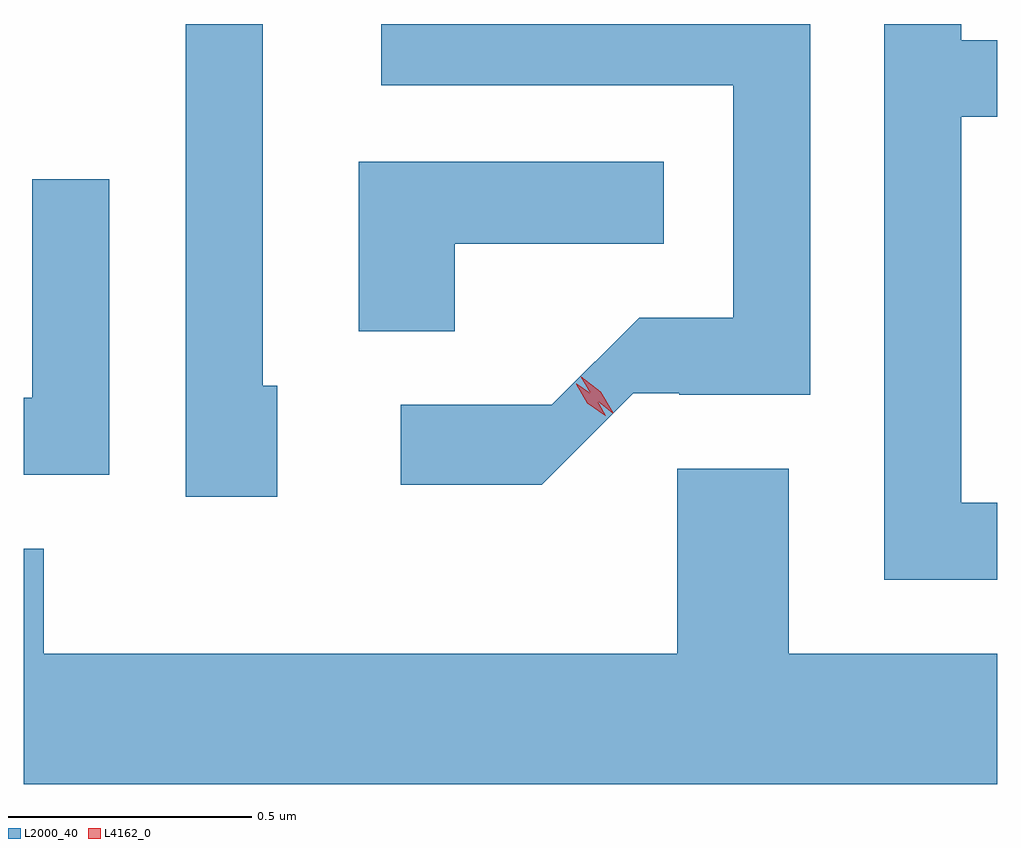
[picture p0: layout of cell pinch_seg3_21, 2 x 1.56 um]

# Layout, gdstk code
import gdstk
lib = gdstk.Library(unit=1e-6, precision=1e-09)
def P(c, l, *ps):  # polygons
    for p in ps: c.add(gdstk.Polygon(p, *l))
L2000_40 = (2000, 40)
L4162_0 = (4162, 0)

pinch_seg3_21 = lib.new_cell('pinch_seg3_21')
P(pinch_seg3_21, L2000_40, [(829.69,1188.979),(829.785,1188.979),(829.785,1188.976),(830.054,1188.976),(830.054,1189.737),(829.173,1189.737),(829.173,1189.611),(829.896,1189.611),(829.896,1189.134),(829.702,1189.134),(829.523,1188.955),(829.213,1188.955),(829.213,1188.791),(829.502,1188.791)],
  [(828.959,1188.994),(828.929,1188.994),(828.929,1189.737),(828.771,1189.737),(828.771,1188.766),(828.959,1188.766)],
  [(830.438,1188.754),(830.364,1188.754),(830.364,1189.546),(830.438,1189.546),(830.438,1189.704),(830.364,1189.704),(830.364,1189.737),(830.206,1189.737),(830.206,1188.596),(830.438,1188.596)],
  [(829.324,1189.286),(829.753,1189.286),(829.753,1189.454),(829.126,1189.454),(829.126,1189.106),(829.324,1189.106)],
  [(828.614,1189.418),(828.456,1189.418),(828.456,1188.969),(828.438,1188.969),(828.438,1188.811),(828.614,1188.811)],
  [(830.438,1188.444),(830.009,1188.444),(830.009,1188.824),(829.781,1188.824),(829.781,1188.444),(828.479,1188.444),(828.479,1188.659),(828.438,1188.659),(828.438,1188.176),(830.438,1188.176)])
P(pinch_seg3_21, L4162_0, [(829.648,1188.938),(829.608,1188.969),(829.582,1189.012),(829.582,1189.013),(829.582,1189.013),(829.623,1188.982),(829.649,1188.939),(829.649,1188.938)],
  [(829.633,1188.932),(829.596,1188.958),(829.573,1188.997),(829.573,1188.998),(829.574,1188.998),(829.611,1188.972),(829.634,1188.932),(829.634,1188.932)])

lib.write_gds('pinch_seg3_21.gds')
